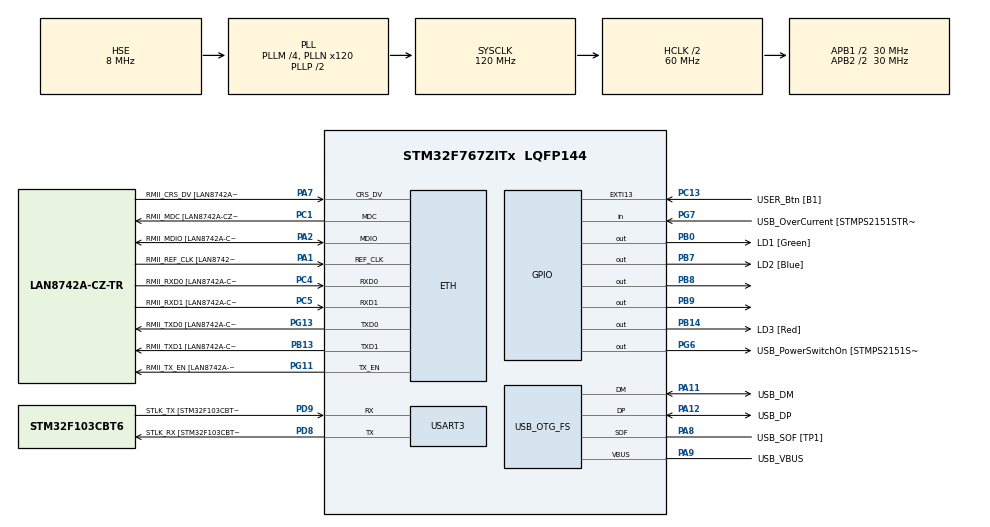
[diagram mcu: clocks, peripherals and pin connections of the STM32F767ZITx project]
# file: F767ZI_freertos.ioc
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ETH.MediaInterface=HAL_ETH_RMII_MODE
ETH.PHY_Name=LAN8742A_PHY_ADDRESS
ETH.PHY_Value=0
ETH.PhyAddress=0
FREERTOS.Tasks01=defaultTask,24,128,StartDefaultTask,Default,NULL,Dynamic,NULL,NULL;task02,24,128,task02_init,Default,NULL,Dynamic,NULL,NULL
Mcu.Family=STM32F7
Mcu.Name=STM32F767ZITx
Mcu.Package=LQFP144
NVIC.PriorityGroup=NVIC_PRIORITYGROUP_4
NVIC.TIM6_DAC_IRQn=true\:15\:0\:false\:false\:true\:false\:false\:true\:true
NVIC.TimeBase=TIM6_DAC_IRQn
NVIC.TimeBaseIP=TIM6
PA1.GPIO_Label=RMII_REF_CLK [LAN8742A-CZ-TR_REFCLK0]
PA1.Mode=RMII
PA1.Signal=ETH_REF_CLK
PA10.GPIO_Label=USB_ID
PA10.Signal=USB_OTG_FS_ID
PA11.GPIO_Label=USB_DM
PA11.Mode=Device_Only
PA11.Signal=USB_OTG_FS_DM
PA12.GPIO_Label=USB_DP
PA12.Mode=Device_Only
PA12.Signal=USB_OTG_FS_DP
PA13.GPIO_Label=TMS
PA13.Mode=Serial_Wire
PA13.Signal=SYS_JTMS-SWDIO
PA14.GPIO_Label=TCK
PA14.Mode=Serial_Wire
PA14.Signal=SYS_JTCK-SWCLK
PA2.GPIO_Label=RMII_MDIO [LAN8742A-CZ-TR_MDIO]
PA2.Mode=RMII
PA2.Signal=ETH_MDIO
PA7.GPIO_Label=RMII_CRS_DV [LAN8742A-CZ-TR_CRS_DV]
PA7.Mode=RMII
PA7.Signal=ETH_CRS_DV
PA8.GPIO_Label=USB_SOF [TP1]
PA8.Mode=Activate_SOF_FS
PA8.Signal=USB_OTG_FS_SOF
PA9.GPIO_Label=USB_VBUS
PA9.Mode=Activate_VBUS
PA9.Signal=USB_OTG_FS_VBUS
PB0.GPIO_Label=LD1 [Green]
PB0.Signal=GPIO_Output
PB13.GPIO_Label=RMII_TXD1 [LAN8742A-CZ-TR_TXD1]
PB13.Mode=RMII
PB13.Signal=ETH_TXD1
PB14.GPIO_Label=LD3 [Red]
PB14.Signal=GPIO_Output
PB3.GPIO_Label=SWO
PB3.Signal=SYS_JTDO-SWO
PB7.GPIO_Label=LD2 [Blue]
PB7.Signal=GPIO_Output
PB8.Signal=GPIO_Output
PB9.Signal=GPIO_Output
PC1.GPIO_Label=RMII_MDC [LAN8742A-CZ-TR_MDC]
PC1.Mode=RMII
PC1.Signal=ETH_MDC
PC13.GPIO_Label=USER_Btn [B1]
PC13.Signal=GPXTI13
PC14/OSC32_IN.Mode=LSE-External-Oscillator
PC14/OSC32_IN.Signal=RCC_OSC32_IN
PC15/OSC32_OUT.Mode=LSE-External-Oscillator
PC15/OSC32_OUT.Signal=RCC_OSC32_OUT
PC4.GPIO_Label=RMII_RXD0 [LAN8742A-CZ-TR_RXD0]
PC4.Mode=RMII
PC4.Signal=ETH_RXD0
PC5.GPIO_Label=RMII_RXD1 [LAN8742A-CZ-TR_RXD1]
PC5.Mode=RMII
PC5.Signal=ETH_RXD1
PD8.GPIO_Label=STLK_RX [STM32F103CBT6_PA3]
PD8.Mode=Asynchronous
PD8.Signal=USART3_TX
PD9.GPIO_Label=STLK_TX [STM32F103CBT6_PA2]
PD9.Mode=Asynchronous
PD9.Signal=USART3_RX
PG11.GPIO_Label=RMII_TX_EN [LAN8742A-CZ-TR_TXEN]
PG11.Mode=RMII
PG11.Signal=ETH_TX_EN
PG13.GPIO_Label=RMII_TXD0 [LAN8742A-CZ-TR_TXD0]
PG13.Mode=RMII
PG13.Signal=ETH_TXD0
PG6.GPIO_Label=USB_PowerSwitchOn [STMPS2151STR_EN]
PG6.Signal=GPIO_Output
PG7.GPIO_Label=USB_OverCurrent [STMPS2151STR_FAULT]
PG7.Signal=GPIO_Input
PH0/OSC_IN.GPIO_Label=MCO [STM32F103CBT6_PA8]
PH0/OSC_IN.Mode=HSE-External-Clock-Source
PH0/OSC_IN.Signal=RCC_OSC_IN
PH1/OSC_OUT.Mode=HSE-External-Clock-Source
PH1/OSC_OUT.Signal=RCC_OSC_OUT
ProjectManager.HeapSize=0x200
ProjectManager.StackSize=0x400
ProjectManager.TargetToolchain=STM32CubeIDE
RCC.48MHZClocksFreq_Value=24000000
RCC.AHBCLKDivider=RCC_SYSCLK_DIV2
RCC.AHBFreq_Value=60000000
RCC.APB1CLKDivider=RCC_HCLK_DIV2
RCC.APB1Freq_Value=30000000
RCC.APB1TimFreq_Value=60000000
RCC.APB2CLKDivider=RCC_HCLK_DIV2
RCC.APB2Freq_Value=30000000
RCC.APB2TimFreq_Value=60000000
RCC.CortexFreq_Value=60000000
RCC.HCLKFreq_Value=60000000
RCC.HSE_VALUE=8000000
RCC.HSI_VALUE=16000000
RCC.PLLM=4
RCC.PLLMUL=RCC_PLL_MUL9
RCC.PLLN=120
RCC.PLLQ=5
RCC.PRESCALERUSB=RCC_USBCLKSOURCE_PLL_DIV1_5
RCC.SYSCLKFreq_VALUE=120000000
RCC.SYSCLKSource=RCC_SYSCLKSOURCE_PLLCLK
RCC.SYSCLKSourceVirtual=RCC_SYSCLKSOURCE_PLLCLK
RCC.USBFreq_Value=48000000
RCC.VCOOutputFreq_Value=240000000
USART3.VirtualMode-Asynchronous=VM_ASYNC
USB_OTG_FS.VirtualMode=Device_Only
VP_FREERTOS_VS_CMSIS_V2.Mode=CMSIS_V2
VP_SYS_VS_tim6.Mode=TIM6
board=NUCLEO-F767ZI

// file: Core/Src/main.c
/* USER CODE BEGIN Header */
/**
  ******************************************************************************
  * @file           : main.c
  * @brief          : Main program body
  ******************************************************************************
  * @attention
  *
  * Copyright (c) 2024 STMicroelectronics.
  * All rights reserved.
  *
  * This software is licensed under terms that can be found in the LICENSE file
  * in the root directory of this software component.
  * If no LICENSE file comes with this software, it is provided AS-IS.
  *
  ******************************************************************************
  */
/* USER CODE END Header */
#include "main.h"
#include "string.h"
#include "cmsis_os.h"

#if defined ( __ICCARM__ ) /*!< IAR Compiler */
#pragma location=0x2007c000
ETH_DMADescTypeDef  DMARxDscrTab[ETH_RX_DESC_CNT]; /* Ethernet Rx DMA Descriptors */
#pragma location=0x2007c0a0
ETH_DMADescTypeDef  DMATxDscrTab[ETH_TX_DESC_CNT]; /* Ethernet Tx DMA Descriptors */

#elif defined ( __CC_ARM )  /* MDK ARM Compiler */

__attribute__((at(0x2007c000))) ETH_DMADescTypeDef  DMARxDscrTab[ETH_RX_DESC_CNT]; /* Ethernet Rx DMA Descriptors */
__attribute__((at(0x2007c0a0))) ETH_DMADescTypeDef  DMATxDscrTab[ETH_TX_DESC_CNT]; /* Ethernet Tx DMA Descriptors */

#elif defined ( __GNUC__ ) /* GNU Compiler */
ETH_DMADescTypeDef DMARxDscrTab[ETH_RX_DESC_CNT] __attribute__((section(".RxDecripSection"))); /* Ethernet Rx DMA Descriptors */
ETH_DMADescTypeDef DMATxDscrTab[ETH_TX_DESC_CNT] __attribute__((section(".TxDecripSection")));   /* Ethernet Tx DMA Descriptors */

#endif

ETH_TxPacketConfig TxConfig;

ETH_HandleTypeDef heth;

UART_HandleTypeDef huart3;

PCD_HandleTypeDef hpcd_USB_OTG_FS;

/* Definitions for defaultTask */
osThreadId_t defaultTaskHandle;
const osThreadAttr_t defaultTask_attributes = {
  .name = "defaultTask",
  .stack_size = 128 * 4,
  .priority = (osPriority_t) osPriorityNormal,
};
/* Definitions for task02 */
osThreadId_t task02Handle;
const osThreadAttr_t task02_attributes = {
  .name = "task02",
  .stack_size = 128 * 4,
  .priority = (osPriority_t) osPriorityHigh,
};

/* Creating custom tasks without CubeMX */
osThreadId_t taskHandle03;
const osThreadAttr_t task03_attributes = {
		.name = "task03",
		.stack_size = 128 * 4,
		.priority = (osPriority_t) osPriorityBelowNormal,
};

void SystemClock_Config(void);
static void MX_GPIO_Init(void);
static void MX_ETH_Init(void);
static void MX_USART3_UART_Init(void);
static void MX_USB_OTG_FS_PCD_Init(void);
void StartDefaultTask(void *argument);
void task02_init(void *argument);
void task03_init(void *argument);

int main(void)
{

  /* MCU Configuration--------------------------------------------------------*/

  /* Reset of all peripherals, Initializes the Flash interface and the Systick. */
  HAL_Init();

  /* Configure the system clock */
  SystemClock_Config();

  /* Initialize all configured peripherals */
  MX_GPIO_Init();
  MX_ETH_Init();
  MX_USART3_UART_Init();
  MX_USB_OTG_FS_PCD_Init();

  /* Init scheduler */
  osKernelInitialize();

  /* Create the thread(s) */
  /* creation of defaultTask */
  defaultTaskHandle = osThreadNew(StartDefaultTask, NULL, &defaultTask_attributes);

  /* creation of task02 */
  task02Handle = osThreadNew(task02_init, NULL, &task02_attributes);

  /* Creation of task03 */
  //taskHandle03 = osThreadNew(task03_init, NULL, &task03_attributes);

  /* Start scheduler */
  osKernelStart();

  /* We should never get here as control is now taken by the scheduler */
  /* Infinite loop */
  while (1)
  {

  }
}

void SystemClock_Config(void)
{
  RCC_OscInitTypeDef RCC_OscInitStruct = {0};
  RCC_ClkInitTypeDef RCC_ClkInitStruct = {0};

  /** Configure LSE Drive Capability
  */
  HAL_PWR_EnableBkUpAccess();

  /** Configure the main internal regulator output voltage
  */
  __HAL_RCC_PWR_CLK_ENABLE();
  __HAL_PWR_VOLTAGESCALING_CONFIG(PWR_REGULATOR_VOLTAGE_SCALE3);

  /** Initializes the RCC Oscillators according to the specified parameters
  * in the RCC_OscInitTypeDef structure.
  */
  RCC_OscInitStruct.OscillatorType = RCC_OSCILLATORTYPE_HSE;
  RCC_OscInitStruct.HSEState = RCC_HSE_BYPASS;
  RCC_OscInitStruct.PLL.PLLState = RCC_PLL_ON;
  RCC_OscInitStruct.PLL.PLLSource = RCC_PLLSOURCE_HSE;
  RCC_OscInitStruct.PLL.PLLM = 4;
  RCC_OscInitStruct.PLL.PLLN = 120;
  RCC_OscInitStruct.PLL.PLLP = RCC_PLLP_DIV2;
  RCC_OscInitStruct.PLL.PLLQ = 5;
  RCC_OscInitStruct.PLL.PLLR = 2;
  if (HAL_RCC_OscConfig(&RCC_OscInitStruct) != HAL_OK)
  {
    Error_Handler();
  }

  /** Initializes the CPU, AHB and APB buses clocks
  */
  RCC_ClkInitStruct.ClockType = RCC_CLOCKTYPE_HCLK|RCC_CLOCKTYPE_SYSCLK
                              |RCC_CLOCKTYPE_PCLK1|RCC_CLOCKTYPE_PCLK2;
  RCC_ClkInitStruct.SYSCLKSource = RCC_SYSCLKSOURCE_PLLCLK;
  RCC_ClkInitStruct.AHBCLKDivider = RCC_SYSCLK_DIV2;
  RCC_ClkInitStruct.APB1CLKDivider = RCC_HCLK_DIV2;
  RCC_ClkInitStruct.APB2CLKDivider = RCC_HCLK_DIV2;

  if (HAL_RCC_ClockConfig(&RCC_ClkInitStruct, FLASH_LATENCY_1) != HAL_OK)
  {
    Error_Handler();
  }
}

static void MX_ETH_Init(void)
{

   static uint8_t MACAddr[6];

  heth.Instance = ETH;
  MACAddr[0] = 0x00;
  MACAddr[1] = 0x80;
  MACAddr[2] = 0xE1;
  MACAddr[3] = 0x00;
  MACAddr[4] = 0x00;
  MACAddr[5] = 0x00;
  heth.Init.MACAddr = &MACAddr[0];
  heth.Init.MediaInterface = HAL_ETH_RMII_MODE;
  heth.Init.TxDesc = DMATxDscrTab;
  heth.Init.RxDesc = DMARxDscrTab;
  heth.Init.RxBuffLen = 1524;

  if (HAL_ETH_Init(&heth) != HAL_OK)
  {
    Error_Handler();
  }

  memset(&TxConfig, 0 , sizeof(ETH_TxPacketConfig));
  TxConfig.Attributes = ETH_TX_PACKETS_FEATURES_CSUM | ETH_TX_PACKETS_FEATURES_CRCPAD;
  TxConfig.ChecksumCtrl = ETH_CHECKSUM_IPHDR_PAYLOAD_INSERT_PHDR_CALC;
  TxConfig.CRCPadCtrl = ETH_CRC_PAD_INSERT;

}

static void MX_USART3_UART_Init(void)
{

  huart3.Instance = USART3;
  huart3.Init.BaudRate = 115200;
  huart3.Init.WordLength = UART_WORDLENGTH_8B;
  huart3.Init.StopBits = UART_STOPBITS_1;
  huart3.Init.Parity = UART_PARITY_NONE;
  huart3.Init.Mode = UART_MODE_TX_RX;
  huart3.Init.HwFlowCtl = UART_HWCONTROL_NONE;
  huart3.Init.OverSampling = UART_OVERSAMPLING_16;
  huart3.Init.OneBitSampling = UART_ONE_BIT_SAMPLE_DISABLE;
  huart3.AdvancedInit.AdvFeatureInit = UART_ADVFEATURE_NO_INIT;
  if (HAL_UART_Init(&huart3) != HAL_OK)
  {
    Error_Handler();
  }

}

static void MX_USB_OTG_FS_PCD_Init(void)
{

  hpcd_USB_OTG_FS.Instance = USB_OTG_FS;
  hpcd_USB_OTG_FS.Init.dev_endpoints = 6;
  hpcd_USB_OTG_FS.Init.speed = PCD_SPEED_FULL;
  hpcd_USB_OTG_FS.Init.dma_enable = DISABLE;
  hpcd_USB_OTG_FS.Init.phy_itface = PCD_PHY_EMBEDDED;
  hpcd_USB_OTG_FS.Init.Sof_enable = ENABLE;
  hpcd_USB_OTG_FS.Init.low_power_enable = DISABLE;
  hpcd_USB_OTG_FS.Init.lpm_enable = DISABLE;
  hpcd_USB_OTG_FS.Init.vbus_sensing_enable = ENABLE;
  hpcd_USB_OTG_FS.Init.use_dedicated_ep1 = DISABLE;
  if (HAL_PCD_Init(&hpcd_USB_OTG_FS) != HAL_OK)
  {
    Error_Handler();
  }

}

static void MX_GPIO_Init(void)
{
  GPIO_InitTypeDef GPIO_InitStruct = {0};

  /* GPIO Ports Clock Enable */
  __HAL_RCC_GPIOC_CLK_ENABLE();
  __HAL_RCC_GPIOH_CLK_ENABLE();
  __HAL_RCC_GPIOA_CLK_ENABLE();
  __HAL_RCC_GPIOB_CLK_ENABLE();
  __HAL_RCC_GPIOD_CLK_ENABLE();
  __HAL_RCC_GPIOG_CLK_ENABLE();

  /*Configure GPIO pin Output Level */
  HAL_GPIO_WritePin(GPIOB, LD1_Pin|LD3_Pin|LD2_Pin|GPIO_PIN_8
                          |GPIO_PIN_9, GPIO_PIN_RESET);

  /*Configure GPIO pin Output Level */
  HAL_GPIO_WritePin(USB_PowerSwitchOn_GPIO_Port, USB_PowerSwitchOn_Pin, GPIO_PIN_RESET);

  /*Configure GPIO pin : USER_Btn_Pin */
  GPIO_InitStruct.Pin = USER_Btn_Pin;
  GPIO_InitStruct.Mode = GPIO_MODE_IT_RISING;
  GPIO_InitStruct.Pull = GPIO_NOPULL;
  HAL_GPIO_Init(USER_Btn_GPIO_Port, &GPIO_InitStruct);

  /*Configure GPIO pins : LD1_Pin LD3_Pin LD2_Pin PB8
                           PB9 */
  GPIO_InitStruct.Pin = LD1_Pin|LD3_Pin|LD2_Pin|GPIO_PIN_8
                          |GPIO_PIN_9;
  GPIO_InitStruct.Mode = GPIO_MODE_OUTPUT_PP;
  GPIO_InitStruct.Pull = GPIO_NOPULL;
  GPIO_InitStruct.Speed = GPIO_SPEED_FREQ_LOW;
  HAL_GPIO_Init(GPIOB, &GPIO_InitStruct);

  /*Configure GPIO pin : USB_PowerSwitchOn_Pin */
  GPIO_InitStruct.Pin = USB_PowerSwitchOn_Pin;
  GPIO_InitStruct.Mode = GPIO_MODE_OUTPUT_PP;
  GPIO_InitStruct.Pull = GPIO_NOPULL;
  GPIO_InitStruct.Speed = GPIO_SPEED_FREQ_LOW;
  HAL_GPIO_Init(USB_PowerSwitchOn_GPIO_Port, &GPIO_InitStruct);

  /*Configure GPIO pin : USB_OverCurrent_Pin */
  GPIO_InitStruct.Pin = USB_OverCurrent_Pin;
  GPIO_InitStruct.Mode = GPIO_MODE_INPUT;
  GPIO_InitStruct.Pull = GPIO_NOPULL;
  HAL_GPIO_Init(USB_OverCurrent_GPIO_Port, &GPIO_InitStruct);

}

void StartDefaultTask(void *argument)
{
  /* USER CODE BEGIN 5 */
	uint8_t message_dt[] = "Hi from DT\n\r";
	static uint8_t count = 0;
  /* Infinite loop */
  for(;;)
  {
	  HAL_UART_Transmit(&huart3, message_dt, sizeof(message_dt), 100);
	  HAL_GPIO_TogglePin(GPIOB, GPIO_PIN_8);
	  ++count;

	  if (count == 8)
	  {
		  osDelayUntil(10000);
		  count = 0;
	  }
    osDelay(1000);
  }
  /* USER CODE END 5 */
}

void task02_init(void *argument)
{
  /* USER CODE BEGIN task02_init */
	uint8_t message_t2[] = "Hi from T2\n\r";
	static uint8_t count = 0;
  /* Infinite loop */
  for(;;)
  {
//	  /* Suspend default task if count == 4 */
//	  if (count == 4)
//		  osThreadSuspend(defaultTaskHandle);
	  HAL_UART_Transmit(&huart3, message_t2, sizeof(message_t2), 100);
	  HAL_GPIO_TogglePin(GPIOB, GPIO_PIN_9);
	  ++count;

//	  /* Resume default task if count == 7 */
//	  if (count == 8)
//	  {
//		  HAL_UART_Transmit(&huart3, "Resume\n\r", sizeof("Resume\n\r"), 100);
//		  osThreadResume(defaultTaskHandle);
//		  count = 0;
//	  }
    osDelay(2000);
  }
  /* USER CODE END task02_init */
}

//void task03_init(void *argument)
//{
//  /* USER CODE BEGIN task03_init */
//  /* Infinite loop */
//  for(;;)
//  {
//	  HAL_GPIO_TogglePin(GPIOB, GPIO_PIN_9);
//	osDelay(1);
//  }
  /* USER CODE END task03_init */
//}

void HAL_TIM_PeriodElapsedCallback(TIM_HandleTypeDef *htim)
{
  if (htim->Instance == TIM6) {
    HAL_IncTick();
  }
}

void Error_Handler(void)
{
  __disable_irq();
  while (1)
  {
  }
}
